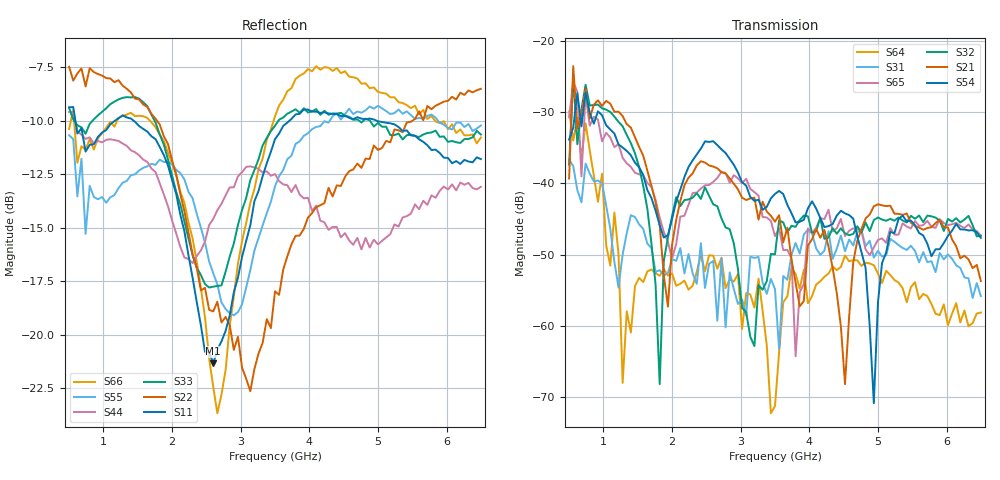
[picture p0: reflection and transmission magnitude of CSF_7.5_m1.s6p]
!Keysight Technologies,M9804A,MY58100912,A.14.10.03
!Date: Thursday, April 27, 2023 10:28:33
!Correction: S11(C  6-Port  )
!S12(C  6-Port  )
!S13(C  6-Port  )
!S14(C  6-Port  )
!S15(C  6-Port  )
!S16(C  6-Port  )
!S21(C  6-Port  )
!S22(C  6-Port  )
!S23(C  6-Port  )
!S24(C  6-Port  )
!S25(C  6-Port  )
!S26(C  6-Port  )
!S31(C  6-Port  )
!S32(C  6-Port  )
!S33(C  6-Port  )
!S34(C  6-Port  )
!S35(C  6-Port  )
!S36(C  6-Port  )
!S41(C  6-Port  )
!S42(C  6-Port  )
!S43(C  6-Port  )
!S44(C  6-Port  )
!S45(C  6-Port  )
!S46(C  6-Port  )
!S51(C  6-Port  )
!S52(C  6-Port  )
!S53(C  6-Port  )
!S54(C  6-Port  )
!S55(C  6-Port  )
!S56(C  6-Port  )
!S61(C  6-Port  )
!S62(C  6-Port  )
!S63(C  6-Port  )
!S64(C  6-Port  )
!S65(C  6-Port  )
!S66(C  6-Port  )
!S6P File: Measurement: :
# Hz S  RI  R 50
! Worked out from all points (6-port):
!   101 points, 500 MHz to 6.5 GHz, reference 50 ohm
!   strongest paths, dB at 500 MHz, 2 GHz, 3.5 GHz, 5 GHz, 6.5 GHz:
!     S54: -33.9, -45.0, -41.5, -56.7, -47.6
!     S21: -39.3, -48.6, -45.4, -42.9, -53.7
!     S32: -37.4, -44.6, -49.9, -44.8, -47.3
!     S65: -30.7, -50.6, -47.4, -47.9, -47.3
!     S31: -36.7, -50.6, -54.8, -49.5, -55.8
!     S64: -29.9, -52.6, -71.2, -52.6, -58.1
!   lowest |S11| = -21.3 dB at 2.6 GHz (marker M1), VSWR 1.19, Z = 42.4 + j2.22 ohm
!   |S11| at or under -10 dB: 590.6 MHz to 1.171 GHz (580.5 MHz wide, 65.9 % of centre); 1.438 GHz to 3.713 GHz (2.276 GHz wide, 88.4 % of centre); 4.976 GHz to end of sweep
